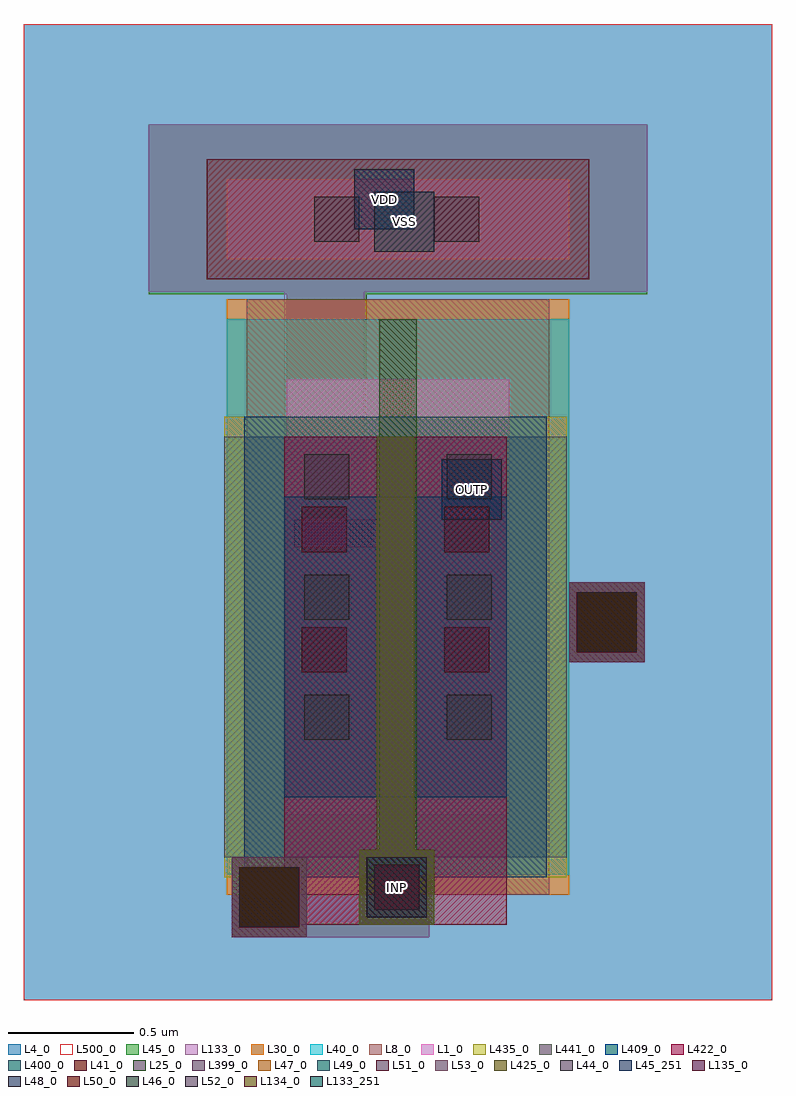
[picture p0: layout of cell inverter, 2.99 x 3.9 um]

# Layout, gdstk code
from math import pi, radians
import gdstk
lib = gdstk.Library(unit=1e-6, precision=1e-09)
def R(c, l, rs):  # rectangles x0, y0, x1, y1
    for r in rs: c.add(gdstk.rectangle(r[:2], r[2:], *l))
def A(c, l, x, y, w, h, nx, ny, dx, dy):  # array of equal rectangles
    R(c, l, [(x+i*dx, y+j*dy, x+i*dx+w, y+j*dy+h) for i in range(nx) for j in range(ny)])
L1_0 = (1, 0)
L4_0 = (4, 0)
L8_0 = (8, 0)
L25_0 = (25, 0)
L30_0 = (30, 0)
L40_0 = (40, 0)
L41_0 = (41, 0)
L44_0 = (44, 0)
L45_0 = (45, 0)
L45_251 = (45, 251)
L46_0 = (46, 0)
L47_0 = (47, 0)
L48_0 = (48, 0)
L49_0 = (49, 0)
L50_0 = (50, 0)
L51_0 = (51, 0)
L52_0 = (52, 0)
L53_0 = (53, 0)
L133_0 = (133, 0)
L133_251 = (133, 251)
L134_0 = (134, 0)
L135_0 = (135, 0)
L399_0 = (399, 0)
L400_0 = (400, 0)
L409_0 = (409, 0)
L422_0 = (422, 0)
L425_0 = (425, 0)
L435_0 = (435, 0)
L441_0 = (441, 0)
L500_0 = (500, 0)

abutcontact_cdns_4606392 = lib.new_cell('AbutContact_CDNS_460639217691')
R(abutcontact_cdns_4606392, L1_0, [(-0.05,-0.03,1.32,0.29)])
R(abutcontact_cdns_4606392, L44_0, [(0.3,0.04,0.48,0.22), (0.78,0.04,0.96,0.22)])
R(abutcontact_cdns_4606392, L45_0, [(-0.05,-0.03,1.32,0.29)])

pmos_hs_4_cdns_460639217 = lib.new_cell('pmos_hs_4_CDNS_460639217690')
R(pmos_hs_4_cdns_460639217, L1_0, [(-0.37,0,0,1.74), (0,0,0.15,1.74), (0.15,0,0.52,1.74), (-0.37,0.23,-0.05,1.51), (0.2,0.23,0.52,1.51)])
R(pmos_hs_4_cdns_460639217, L4_0, [(-1.02,-1.21,1.17,2.43), (-1.02,-1.21,1.17,2.43), (-0.77,-0.96,0.92,2.06)])
R(pmos_hs_4_cdns_460639217, L8_0, [(-0.53,-0.32,0.68,2.06)])
R(pmos_hs_4_cdns_460639217, L25_0, [(0,-0.24,0.15,0), (0,-0.24,0.15,1.98), (0,1.74,0.15,1.98), (-0.08,1.88,0.22,2.18), (-0.08,1.88,0.22,2.18)])
R(pmos_hs_4_cdns_460639217, L30_0, [(-0.61,-0.32,0.76,2.06)])
R(pmos_hs_4_cdns_460639217, L40_0, [(-0.61,-0.24,0.76,1.98)])
R(pmos_hs_4_cdns_460639217, L41_0, [(-0.69,-0.88,0.84,-0.4)])
A(pmos_hs_4_cdns_460639217, L44_0, -0.3, 0.3, 0.18, 0.18, 1, 3, 0, 0.48)
A(pmos_hs_4_cdns_460639217, L44_0, 0.27, 0.3, 0.18, 0.18, 1, 3, 0, 0.48)
R(pmos_hs_4_cdns_460639217, L44_0, [(-0.02,1.94,0.16,2.12)])
R(pmos_hs_4_cdns_460639217, L45_0, [(-0.61,-0.8,0.76,-0.48), (-0.37,0.23,-0.05,1.51), (0.2,0.23,0.52,1.51), (-0.06,1.91,0.2,2.15)])
pmos_hs_4_cdns_460639217.add(gdstk.Reference(abutcontact_cdns_4606392, (-0.56,-0.77)))

nmos_hs_4_top_cdns_46063 = lib.new_cell('nmos_hs_4_top_CDNS_460639217692')
R(nmos_hs_4_top_cdns_46063, L133_0, [(-0.37,0,-0.05,1.2), (0.2,0,0.52,1.2), (-0.28,0.06,-0.14,0.2), (0.29,0.06,0.43,0.2), (-0.06,1.44,0.2,1.68), (0,1.49,0.14,1.63)])
R(nmos_hs_4_top_cdns_46063, L135_0, [(-0.3,0.04,-0.12,0.22), (0.27,0.04,0.45,0.22), (-0.3,0.52,-0.12,0.7), (0.27,0.52,0.45,0.7), (-0.02,1.47,0.16,1.65)])
R(nmos_hs_4_top_cdns_46063, L399_0, [(0,-0.24,0.15,1.41), (0.04,0.1,0.1,0.18), (-0.08,1.41,0.22,1.71)])
R(nmos_hs_4_top_cdns_46063, L400_0, [(-0.37,0,-0.05,1.2), (-0.05,0,0,1.2), (0,0,0.15,1.2), (0.15,0,0.2,1.2), (0.2,0,0.52,1.2)])
R(nmos_hs_4_top_cdns_46063, L409_0, [(-0.53,-0.32,0.68,1.52)])
R(nmos_hs_4_top_cdns_46063, L422_0, [(-0.37,-0.24,0.52,1.71)])
R(nmos_hs_4_top_cdns_46063, L425_0, [(0,-0.24,0.15,1.41), (-0.08,1.41,0.22,1.71)])
R(nmos_hs_4_top_cdns_46063, L435_0, [(-0.61,-0.32,0.76,1.52)])
R(nmos_hs_4_top_cdns_46063, L441_0, [(-0.61,-0.24,0.76,1.44)])

m2_m3_cdns_460639217690 = lib.new_cell('M2_M3_CDNS_460639217690')
R(m2_m3_cdns_460639217690, L47_0, [(-0.15,-0.16,0.15,0.16)])
R(m2_m3_cdns_460639217690, L48_0, [(-0.12,-0.12,0.12,0.12)])
R(m2_m3_cdns_460639217690, L49_0, [(-0.15,-0.16,0.15,0.16)])

m3_m4_cdns_460639217691 = lib.new_cell('M3_M4_CDNS_460639217691')
R(m3_m4_cdns_460639217691, L49_0, [(-0.15,-0.16,0.15,0.16)])
R(m3_m4_cdns_460639217691, L50_0, [(-0.12,-0.12,0.12,0.12)])
R(m3_m4_cdns_460639217691, L51_0, [(-0.15,-0.16,0.15,0.16)])

m1_m2_cdns_460639217692 = lib.new_cell('M1_M2_CDNS_460639217692')
R(m1_m2_cdns_460639217692, L45_0, [(-0.15,-0.16,0.15,0.16)])
R(m1_m2_cdns_460639217692, L46_0, [(-0.12,-0.12,0.12,0.12)])
R(m1_m2_cdns_460639217692, L47_0, [(-0.15,-0.16,0.15,0.16)])

m4_m5_cdns_460639217693 = lib.new_cell('M4_M5_CDNS_460639217693')
R(m4_m5_cdns_460639217693, L51_0, [(-0.15,-0.16,0.15,0.16)])
R(m4_m5_cdns_460639217693, L52_0, [(-0.12,-0.12,0.12,0.12)])
R(m4_m5_cdns_460639217693, L53_0, [(-0.15,-0.16,0.15,0.16)])

m5_m1_top_cdns_460639217 = lib.new_cell('M5_M1_top_CDNS_460639217694')
R(m5_m1_top_cdns_460639217, L53_0, [(-0.15,-0.16,0.15,0.16)])
R(m5_m1_top_cdns_460639217, L133_0, [(-0.15,-0.16,0.15,0.16)])
R(m5_m1_top_cdns_460639217, L134_0, [(-0.12,-0.12,0.12,0.12)])

inverter = lib.new_cell('inverter')
R(inverter, L4_0, [(1.15,2.47,4.14,6.37)])
R(inverter, L45_0, [(1.98,2.72,2.77,3.04), (2.77,3.44,3.09,4.72), (2.77,3.82,3.63,4.14), (2.2,4.48,2.52,5.4), (1.65,5.29,3.64,5.97)])
R(inverter, L45_251, [(2.52,2.8,2.76,3.04), (2.82,4.39,3.06,4.63), (2.47,5.55,2.71,5.79)])
R(inverter, L133_0, [(2.25,2.72,2.77,3.04), (2.76,3.28,3.08,4.48), (2.76,3.82,3.63,4.14), (2.19,4.26,2.51,5.31), (1.65,5.3,3.64,5.97)])
R(inverter, L133_251, [(2.55,5.46,2.79,5.7)])
R(inverter, L399_0, [(2.23,4.28,2.68,4.39)])
R(inverter, L500_0, [(1.15,2.47,4.14,6.37)])
inverter.add(gdstk.Reference(pmos_hs_4_cdns_460639217, (2.57,4.95), x_reflection=True))
inverter.add(gdstk.Reference(nmos_hs_4_top_cdns_46063, (2.71,4.48), rotation=pi))
inverter.add(gdstk.Reference(m2_m3_cdns_460639217690, (2.13,2.88)))
inverter.add(gdstk.Reference(m2_m3_cdns_460639217690, (3.48,3.98)))
inverter.add(gdstk.Reference(m3_m4_cdns_460639217691, (2.13,2.88)))
inverter.add(gdstk.Reference(m3_m4_cdns_460639217691, (3.48,3.98)))
inverter.add(gdstk.Reference(m1_m2_cdns_460639217692, (2.13,2.88)))
inverter.add(gdstk.Reference(m1_m2_cdns_460639217692, (3.48,3.98)))
inverter.add(gdstk.Reference(m4_m5_cdns_460639217693, (2.13,2.88)))
inverter.add(gdstk.Reference(m4_m5_cdns_460639217693, (3.48,3.98)))
inverter.add(gdstk.Reference(m5_m1_top_cdns_460639217, (3.48,3.98)))
inverter.add(gdstk.Reference(m5_m1_top_cdns_460639217, (2.13,2.88)))
inverter.add(gdstk.Label('VDD', (2.59,5.67), layer=45, texttype=251))
inverter.add(gdstk.Label('OUTP', (2.94,4.51), layer=45, texttype=251))
inverter.add(gdstk.Label('INP', (2.64,2.92), layer=45, texttype=251))
inverter.add(gdstk.Label('VSS', (2.67,5.58), layer=133, texttype=251))

lib.write_gds('inverter.gds')
